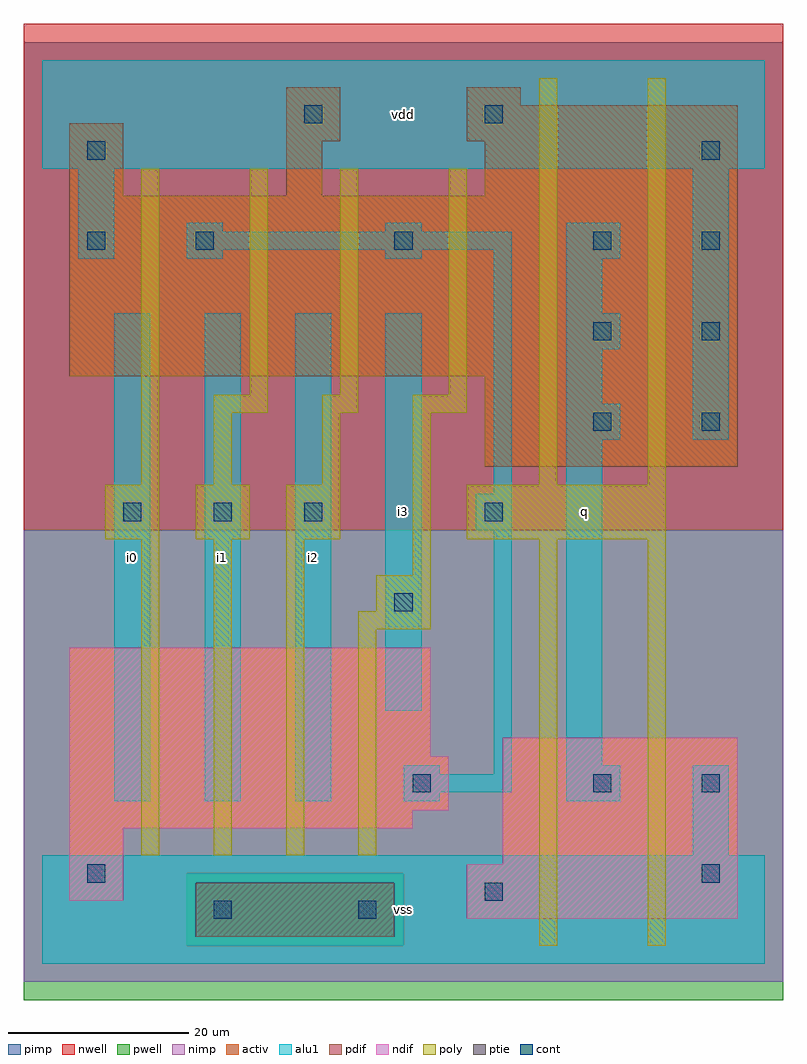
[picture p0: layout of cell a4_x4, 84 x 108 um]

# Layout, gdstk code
import gdstk
lib = gdstk.Library(unit=1e-6, precision=1e-09)
def R(c, l, rs):  # rectangles x0, y0, x1, y1
    for r in rs: c.add(gdstk.rectangle(r[:2], r[2:], *l))
def A(c, l, x, y, w, h, nx, ny, dx, dy):  # array of equal rectangles
    R(c, l, [(x+i*dx, y+j*dy, x+i*dx+w, y+j*dy+h) for i in range(nx) for j in range(ny)])
ndif = (3, 0)
pdif = (4, 0)
ptie = (6, 0)
cont = (25, 0)
pwell = (41, 0)
nwell = (42, 0)
activ = (43, 0)
pimp = (44, 0)
nimp = (45, 0)
poly = (46, 0)
alu1 = (49, 0)

a4_x4 = lib.new_cell('a4_x4')
R(a4_x4, ndif, [(47,5,77,11), (3,7,9,15), (51,11,77,25), (3,15,41,17), (3,17,45,23), (3,23,43,35)])
R(a4_x4, pdif, [(49,55,77,65), (3,65,77,85), (3,85,9,93), (27,85,31,91), (49,85,77,91), (27,91,33,97), (47,91,77,95), (47,95,53,97)])
R(a4_x4, ptie, [(17,3,39,9)])
A(a4_x4, cont, 9, 49, 2, 2, 3, 1, 10, 0)
A(a4_x4, cont, 73, 59, 2, 2, 1, 4, 0, 10)
A(a4_x4, cont, 17, 79, 2, 2, 3, 1, 22, 0)
R(a4_x4, cont, [(19,5,21,7), (35,5,37,7), (49,7,51,9), (5,9,7,11), (73,9,75,11), (41,19,43,21), (61,19,63,21), (73,19,75,21), (39,39,41,41), (49,49,51,51), (61,59,63,61), (61,69,63,71), (5,79,7,81), (5,89,7,91), (29,93,31,95), (49,93,51,95)])
R(a4_x4, pwell, [(-2,-4,82,48)])
R(a4_x4, nwell, [(-2,48,82,104)])
R(a4_x4, activ, [(17,3,39,9), (47,5,77,11), (3,7,9,15), (51,11,77,25), (3,15,41,17), (3,17,45,23), (3,23,43,35), (49,55,77,65), (3,65,77,85), (3,85,9,93), (27,85,31,91), (49,85,77,91), (27,91,33,97), (47,91,77,95), (47,95,53,97)])
R(a4_x4, pimp, [(16,2,40,10), (-2,48,82,102)])
R(a4_x4, nimp, [(-2,-2,82,2), (-2,2,16,10), (40,2,82,10), (-2,10,82,48)])
A(a4_x4, poly, 11, 12, 2, 35, 3, 1, 8, 0)
A(a4_x4, poly, 7, 47, 6, 6, 3, 1, 10, 0)
R(a4_x4, poly, [(55,2,57,47), (67,2,69,47), (35,12,37,37), (35,37,43,39), (37,39,43,43), (41,43,43,61), (47,47,69,53), (11,53,13,88), (19,53,21,61), (31,53,33,61), (55,53,57,98), (67,53,69,98), (19,61,25,63), (31,61,35,63), (41,61,47,63), (23,63,25,88), (33,63,35,88), (45,63,47,88)])
A(a4_x4, alu1, 8, 18, 4, 54, 3, 1, 10, 0)
A(a4_x4, alu1, 58, 58, 6, 4, 1, 3, 0, 10)
R(a4_x4, alu1, [(0,0,80,12), (72,12,76,22), (40,18,44,19), (58,18,64,22), (40,19,52,21), (40,21,44,22), (50,21,52,48), (58,22,62,58), (38,28,42,72), (48,48,52,52), (50,52,52,79), (72,58,76,88), (58,62,62,68), (58,72,62,78), (4,78,8,88), (16,78,20,79), (38,78,42,79), (16,79,52,81), (16,81,20,82), (38,81,42,82), (0,88,80,100)])
a4_x4.add(gdstk.Label('i0', (10,45), layer=49, texttype=0))
a4_x4.add(gdstk.Label('i1', (20,45), layer=49, texttype=0))
a4_x4.add(gdstk.Label('i2', (30,45), layer=49, texttype=0))
a4_x4.add(gdstk.Label('vss', (40,6), layer=49, texttype=0))
a4_x4.add(gdstk.Label('i3', (40,50), layer=49, texttype=0))
a4_x4.add(gdstk.Label('vdd', (40,94), layer=49, texttype=0))
a4_x4.add(gdstk.Label('q', (60,50), layer=49, texttype=0))

lib.write_gds('a4_x4.gds')
